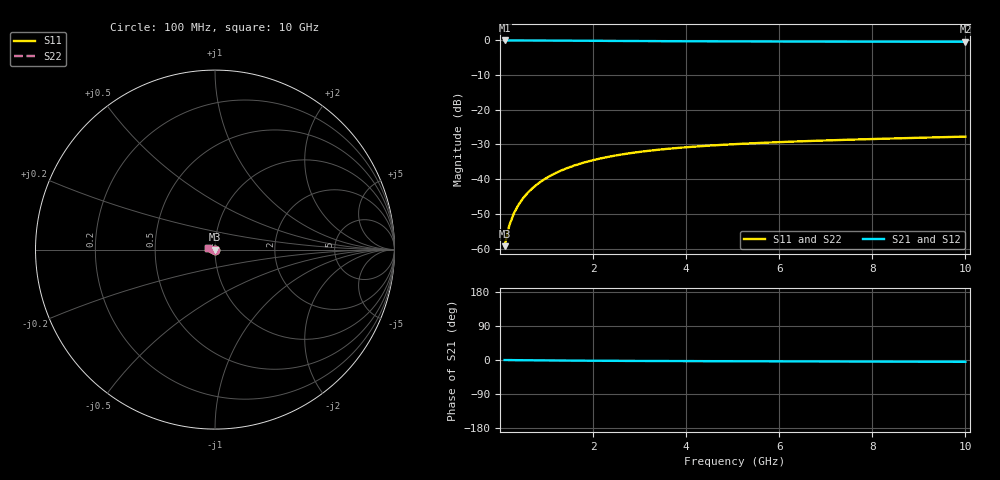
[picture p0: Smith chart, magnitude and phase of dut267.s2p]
! Touchstone file exported from HFSS 2024.1.0
!  File:  C:/UserFiles/LocalFiles/RDL_TSV_Batchsim/temp_TSV1_267_1779392034.aedt
!  Generated:  03:39:14 AM May 22, 2026
!  Design:  TSV1
!  Project:  temp_TSV1_267_1779392034
!  Setup:  Setup1
!  Solution:  Sweep
! Variables:
!  dtsv = 10.2um
!  hbump = 3um
!  htsv = 72.18um
!  lrdl = 252.1521522um
!  p = 40
!  p1 = 56.06um
!  t = 500um
!  trdl = 3um
!  wrdl = 24.89489489um
# GHz S MA R 50.000000
! Terminal data exported
! Port[1] = TSV22_T1
! Port[2] = TSV22_T2
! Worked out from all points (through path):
!   100 points, 100 MHz to 10 GHz, reference 50 ohm
!   highest |S21| = 0.00 dB at 100 MHz (marker M1); lowest = -0.4 dB at 10 GHz (marker M2)
!   lowest |S11| = -59.3 dB at 100 MHz (marker M3), VSWR 1.00, Z = 50 - j0.108 ohm
!   |S11| at or under -10 dB: start of sweep to end of sweep
!   |S22| runs from -59.3 to -27.7 dB; largest |S21 - S12| = 2.2e-15
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0.1  0.001081 -85.1  0.9998 -0.1  0.9998 -0.1  0.001081 -85.1
! Gamma 0 0 0 0
! Port Impedance 50 0 50 0
0.2  0.002151 -90.4  0.9997 -0.2  0.9997 -0.2  0.002151 -90.4
0.3  0.003222 -93.5  0.9995 -0.3  0.9995 -0.3  0.003222 -93.5
0.4  0.004288 -96.1  0.9992 -0.5  0.9992 -0.5  0.004288 -96.1
0.5  0.005346 -98.5  0.9989 -0.6  0.9989 -0.6  0.005346 -98.5
0.6  0.006391 -100.7  0.9984 -0.7  0.9984 -0.7  0.006391 -100.7
0.7  0.007422 -102.9  0.998 -0.8  0.998 -0.8  0.007422 -102.9
0.8  0.008435 -105.0  0.9974 -0.9  0.9974 -0.9  0.008435 -105.0
0.9  0.009428 -107.0  0.9969 -1.0  0.9969 -1.0  0.009428 -107.0
1.1  0.01135 -111.0  0.9955 -1.2  0.9955 -1.2  0.01135 -111.0
1.4  0.01406 -116.6  0.9933 -1.5  0.9933 -1.5  0.01406 -116.6
1.6  0.01573 -120.2  0.9917 -1.6  0.9917 -1.6  0.01573 -120.2
1.8  0.01731 -123.6  0.99 -1.8  0.99 -1.8  0.01731 -123.6
2.1  0.01947 -128.5  0.9875 -2.0  0.9875 -2.0  0.01947 -128.5
2.5  0.02201 -134.5  0.9842 -2.2  0.9842 -2.2  0.02201 -134.5
2.9  0.02421 -140.0  0.9811 -2.5  0.9811 -2.5  0.02421 -140.0
3.4  0.02653 -146.2  0.9775 -2.7  0.9775 -2.7  0.02653 -146.2
4.2  0.02951 -154.8  0.9728 -3.0  0.9728 -3.0  0.02951 -154.8
5.1  0.0321 -163.0  0.9686 -3.3  0.9686 -3.3  0.0321 -163.0
6.7  0.03559 -174.9  0.9634 -3.8  0.9634 -3.8  0.03559 -174.9
8.4  0.03854 174.9  0.9598 -4.3  0.9598 -4.3  0.03854 174.9
10  0.04105 167.0  0.9576 -4.8  0.9576 -4.8  0.04105 167.0
